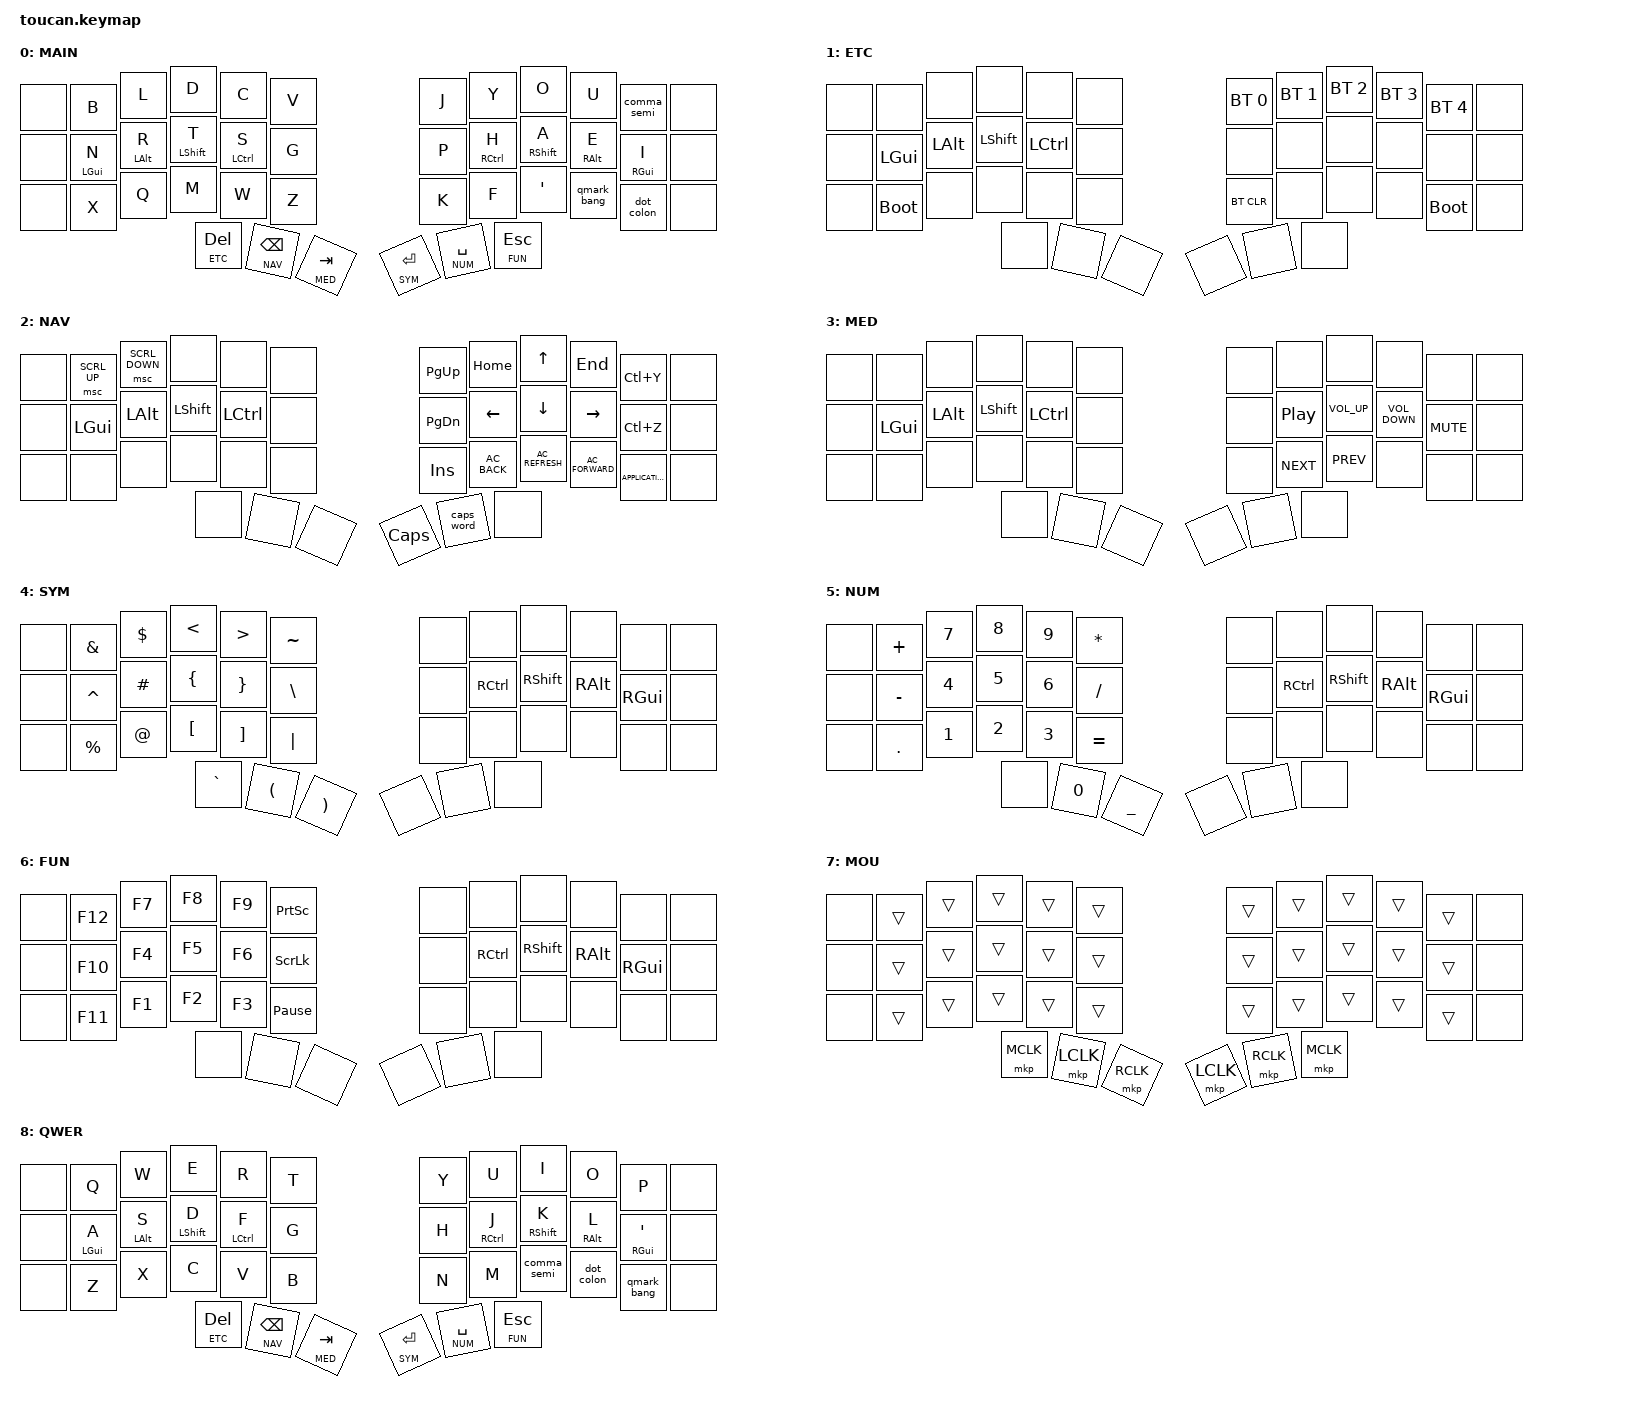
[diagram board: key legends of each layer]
#include <behaviors.dtsi>
#include <dt-bindings/zmk/bt.h>
#include <dt-bindings/zmk/keys.h>
#include <dt-bindings/zmk/pointing.h>

#define MAIN 0
#define ETC 1
#define NAV 2
#define MED 3
#define SYM 4
#define NUM 5
#define FUN 6
#define MOU 7
#define QWER 8

// Shared home row mod timing - tweak these two and it applies everywhere below

#define HRM_TAPPING_TERM_MS 200
#define HRM_REQUIRE_PRIOR_IDLE_MS 150
#define AUTOSHIFT_TAPPING_TERM_MS 175

// Key position groups (urob-style) - used as hold-trigger-key-positions below.
// Thumbs are shared across both hands: a thumb press alongside a home row mod
// is almost always a deliberate chord, not a same-hand roll, so it's included
// as a valid hold trigger for either side rather than split left/right.

#define KEYS_L 1 2 3 4 5 13 14 15 16 17 25 26 27 28 29
#define KEYS_R 6 7 8 9 10 18 19 20 21 22 30 31 32 33 34
#define THUMBS 36 37 38 39 40 41

/ {
    conditional_layers { compatible = "zmk,conditional-layers"; };

    behaviors {
        // Home row mods: GUI / ALT / CTRL - Flow Tap enabled via require-prior-idle-ms

        hml: homerow_mods_left {
            compatible = "zmk,behavior-hold-tap";
            label = "HOMEROW_MODS_LEFT";
            #binding-cells = <2>;
            flavor = "balanced";
            tapping-term-ms = <HRM_TAPPING_TERM_MS>;
            quick-tap-ms = <175>;
            require-prior-idle-ms = <HRM_REQUIRE_PRIOR_IDLE_MS>;
            bindings = <&kp>, <&kp>;

            hold-trigger-key-positions = <KEYS_R THUMBS>;
            hold-trigger-on-release;
        };

        hmr: homerow_mods_right {
            compatible = "zmk,behavior-hold-tap";
            label = "HOMEROW_MODS_RIGHT";
            #binding-cells = <2>;
            flavor = "balanced";
            tapping-term-ms = <HRM_TAPPING_TERM_MS>;
            quick-tap-ms = <175>;
            require-prior-idle-ms = <HRM_REQUIRE_PRIOR_IDLE_MS>;
            bindings = <&kp>, <&kp>;

            hold-trigger-key-positions = <KEYS_L THUMBS>;
            hold-trigger-on-release;
        };

        // Home row mods: SHIFT only. tapping-term-ms is shared via the define
        // above; require-prior-idle-ms stays hardcoded at 0 (not the shared
        // variable) - same-hand-vs-cross-hand is enforced by hold-trigger-key-positions
        // below (opposite hand only) + hold-trigger-on-release.

        hms_l: homerow_mods_shift_left {
            compatible = "zmk,behavior-hold-tap";
            label = "HOMEROW_MODS_SHIFT_LEFT";
            #binding-cells = <2>;
            flavor = "balanced";
            tapping-term-ms = <HRM_TAPPING_TERM_MS>;
            quick-tap-ms = <175>;
            require-prior-idle-ms = <0>;
            bindings = <&kp>, <&kp>;

            hold-trigger-key-positions = <KEYS_R THUMBS>;
            hold-trigger-on-release;
        };

        hms_r: homerow_mods_shift_right {
            compatible = "zmk,behavior-hold-tap";
            label = "HOMEROW_MODS_SHIFT_RIGHT";
            #binding-cells = <2>;
            flavor = "balanced";
            tapping-term-ms = <HRM_TAPPING_TERM_MS>;
            quick-tap-ms = <175>;
            require-prior-idle-ms = <0>;
            bindings = <&kp>, <&kp>;

            hold-trigger-key-positions = <KEYS_L THUMBS>;
            hold-trigger-on-release;
        };

        // Punctuation mod-morphs: tap for the base symbol, shift for the
        // alternate. Replaces the default shifted output of each key
        // (e.g. shift+. is normally >, this makes it : instead).

        dot_colon: dot_colon {
            compatible = "zmk,behavior-mod-morph";
            label = "DOT_COLON";
            #binding-cells = <0>;
            bindings = <&kp DOT>, <&kp COLON>;

            mods = <(MOD_LSFT|MOD_RSFT)>;
        };

        comma_semi: comma_semi {
            compatible = "zmk,behavior-mod-morph";
            label = "COMMA_SEMI";
            #binding-cells = <0>;
            bindings = <&kp COMMA>, <&kp SEMI>;

            mods = <(MOD_LSFT|MOD_RSFT)>;
        };

        qmark_bang: qmark_bang {
            compatible = "zmk,behavior-mod-morph";
            label = "QMARK_BANG";
            #binding-cells = <0>;
            bindings = <&kp QMARK>, <&kp EXCL>;

            mods = <(MOD_LSFT|MOD_RSFT)>;
        };

        auto_shift: auto_shift {
            compatible = "zmk,behavior-hold-tap";
            #binding-cells = <2>;
            tapping-term-ms = <AUTOSHIFT_TAPPING_TERM_MS>;
            quick-tap-ms = <150>;
            flavor = "balanced";
            bindings = <&kp>, <&kp>;
        };
    };

    combos {
        compatible = "zmk,combos";
        timeout-ms = <25>;

        Screenshot {
            bindings = <&kp LS(LG(S))>;
            key-positions = <1 2>;
            require-prior-idle-ms = <350>;
            layers = <0 7>;
        };

        Refresh {
            bindings = <&kp F5>;
            key-positions = <4 3>;
            require-prior-idle-ms = <350>;
            layers = <0 7>;
        };

        Save-Send {
            bindings = <&kp LA(S)>;
            key-positions = <13 25>;
            layers = <0 7>;
            require-prior-idle-ms = <350>;
        };

        Copy {
            bindings = <&kp LC(C)>;
            key-positions = <26 27>;
            require-prior-idle-ms = <350>;
            layers = <0 7>;
        };

        Paste {
            bindings = <&kp LC(V)>;
            key-positions = <27 28>;
            layers = <0 7>;
            require-prior-idle-ms = <350>;
        };

        Cut {
            bindings = <&kp LC(X)>;
            key-positions = <28 26>;
            require-prior-idle-ms = <350>;
            layers = <0 7>;
        };

        Space {
            bindings = <&kp SPACE>;
            key-positions = <5 4>;
            layers = <0 7>;
            require-prior-idle-ms = <350>;
        };

        Enter {
            bindings = <&kp ENTER>;
            key-positions = <28 29>;
            layers = <0 7>;
            require-prior-idle-ms = <350>;
        };

        Esc {
            bindings = <&kp ESCAPE>;
            key-positions = <1 13>;
            require-prior-idle-ms = <350>;
            layers = <0 7>;
        };

        Backspace {
            bindings = <&kp BACKSPACE>;
            key-positions = <17 29>;
            layers = <0 7>;
            require-prior-idle-ms = <350>;
        };
    };

    keymap {
        compatible = "zmk,keymap";

        main {
            display-name = "MAIN";
            bindings = <
&none  &kp B        &kp L        &kp D           &kp C              &kp V        &kp J          &kp Y          &kp O           &kp U        &comma_semi  &none
&none  &hml LGUI N  &hml LALT R  &hms_l LSHFT T  &hml LCTRL S       &kp G        &kp P          &hmr RCTRL H   &hms_r RSHFT A  &hmr RALT E  &hmr RGUI I  &none
&none  &kp X        &kp Q        &kp M           &kp W              &kp Z        &kp K          &kp F          &kp SQT         &qmark_bang  &dot_colon   &none
                                 &lt ETC DELETE  &lt NAV BACKSPACE  &lt MED TAB  &lt SYM ENTER  &lt NUM SPACE  &lt FUN ESCAPE
            >;
        };

        etc {
            display-name = "ETC";
            bindings = <
&none  &none        &none         &none           &none      &none  &bt BT_SEL 0  &bt BT_SEL 1  &bt BT_SEL 2  &bt BT_SEL 3  &bt BT_SEL 4  &none
&none  &kp LGUI     &kp LEFT_ALT  &kp LEFT_SHIFT  &kp LCTRL  &none  &none         &none         &none         &none         &none         &none
&none  &bootloader  &none         &none           &none      &none  &bt BT_CLR    &none         &none         &none         &bootloader   &none
                                  &none           &none      &none  &none         &none         &none
            >;
        };

        nav {
            display-name = "NAV";
            bindings = <
&none  &msc SCRL_UP  &msc SCRL_DOWN  &none           &none      &none  &kp PAGE_UP    &kp HOME       &kp UP_ARROW      &kp END           &kp LC(Y)          &none
&none  &kp LGUI      &kp LEFT_ALT    &kp LEFT_SHIFT  &kp LCTRL  &none  &kp PAGE_DOWN  &kp LEFT       &kp DOWN_ARROW    &kp RIGHT         &kp LC(Z)          &none
&none  &none         &none           &none           &none      &none  &kp INSERT     &kp C_AC_BACK  &kp C_AC_REFRESH  &kp C_AC_FORWARD  &kp K_APPLICATION  &none
                                     &none           &none      &none  &kp CAPS       &caps_word     &none
            >;
        };

        med {
            display-name = "MED";
            bindings = <
&none  &none     &none         &none           &none      &none  &none  &none             &none            &none              &none       &none
&none  &kp LGUI  &kp LEFT_ALT  &kp LEFT_SHIFT  &kp LCTRL  &none  &none  &kp C_PLAY_PAUSE  &kp C_VOLUME_UP  &kp C_VOLUME_DOWN  &kp C_MUTE  &none
&none  &none     &none         &none           &none      &none  &none  &kp C_NEXT        &kp C_PREV       &none              &none       &none
                               &none           &none      &none  &none  &none             &none
            >;
        };

        sym {
            display-name = "SYM";
            bindings = <
&none  &kp AMPERSAND  &kp DOLLAR   &kp LESS_THAN     &kp GREATER_THAN      &kp TILDE              &none  &none      &none            &none          &none     &none
&none  &kp CARET      &kp HASH     &kp LEFT_BRACE    &kp RIGHT_BRACE       &kp BACKSLASH          &none  &kp RCTRL  &kp RIGHT_SHIFT  &kp RIGHT_ALT  &kp RGUI  &none
&none  &kp PERCENT    &kp AT_SIGN  &kp LEFT_BRACKET  &kp RIGHT_BRACKET     &kp PIPE               &none  &none      &none            &none          &none     &none
                                   &kp GRAVE         &kp LEFT_PARENTHESIS  &kp RIGHT_PARENTHESIS  &none  &none      &none
            >;
        };

        num {
            display-name = "NUM";
            bindings = <
&none  &kp PLUS    &kp N7  &kp N8  &kp N9  &kp ASTERISK  &none  &none      &none            &none          &none     &none
&none  &kp MINUS   &kp N4  &kp N5  &kp N6  &kp SLASH     &none  &kp RCTRL  &kp RIGHT_SHIFT  &kp RIGHT_ALT  &kp RGUI  &none
&none  &kp PERIOD  &kp N1  &kp N2  &kp N3  &kp EQUAL     &none  &none      &none            &none          &none     &none
                           &none   &kp N0  &kp UNDER     &none  &none      &none
            >;
        };

        fun {
            display-name = "FUN";
            bindings = <
&none  &kp F12  &kp F7  &kp F8  &kp F9  &kp PRINTSCREEN  &none  &none      &none            &none          &none     &none
&none  &kp F10  &kp F4  &kp F5  &kp F6  &kp SCROLLLOCK   &none  &kp RCTRL  &kp RIGHT_SHIFT  &kp RIGHT_ALT  &kp RGUI  &none
&none  &kp F11  &kp F1  &kp F2  &kp F3  &kp PAUSE_BREAK  &none  &none      &none            &none          &none     &none
                        &none   &none   &none            &none  &none      &none
            >;
        };

        mou {
            display-name = "MOU";
            bindings = <
&none  &trans  &trans  &trans     &trans     &trans     &trans     &trans     &trans     &trans  &trans  &none
&none  &trans  &trans  &trans     &trans     &trans     &trans     &trans     &trans     &trans  &trans  &none
&none  &trans  &trans  &trans     &trans     &trans     &trans     &trans     &trans     &trans  &trans  &none
                       &mkp MCLK  &mkp LCLK  &mkp RCLK  &mkp LCLK  &mkp RCLK  &mkp MCLK
            >;
        };

        qwer {
            display-name = "QWER";
            bindings = <
&none  &kp Q        &kp W        &kp E           &kp R              &kp T        &kp Y          &kp U          &kp I           &kp O        &kp P          &none
&none  &hml LGUI A  &hml LALT S  &hms_l LSHFT D  &hml LCTRL F       &kp G        &kp H          &hmr RCTRL J   &hms_r RSHFT K  &hmr RALT L  &hmr RGUI SQT  &none
&none  &kp Z        &kp X        &kp C           &kp V              &kp B        &kp N          &kp M          &comma_semi     &dot_colon   &qmark_bang    &none
                                 &lt ETC DELETE  &lt NAV BACKSPACE  &lt MED TAB  &lt SYM ENTER  &lt NUM SPACE  &lt FUN ESCAPE
            >;
        };
    };
};
